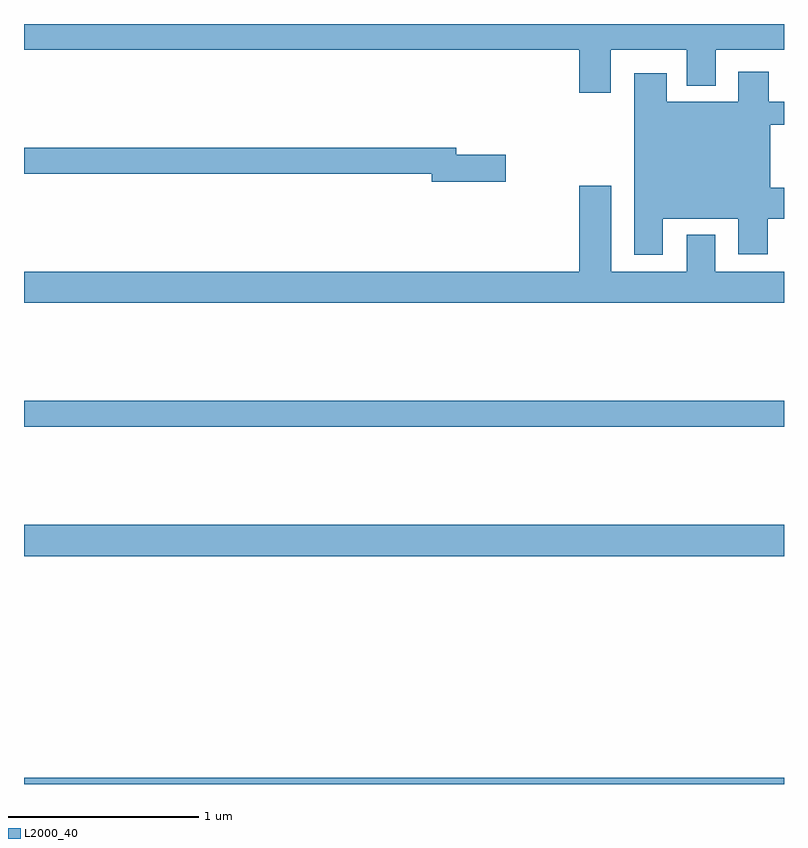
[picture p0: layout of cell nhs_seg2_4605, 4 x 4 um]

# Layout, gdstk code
import gdstk
lib = gdstk.Library(unit=1e-6, precision=1e-09)
def R(c, l, rs):  # rectangles x0, y0, x1, y1
    for r in rs: c.add(gdstk.rectangle(r[:2], r[2:], *l))
def P(c, l, *ps):  # polygons
    for p in ps: c.add(gdstk.Polygon(p, *l))
L2000_40 = (2000, 40)

nhs_seg2_4605 = lib.new_cell('nhs_seg2_4605')
R(nhs_seg2_4605, L2000_40, [(361,615.8,365,615.832), (361,617,365,617.164), (361,617.68,365,617.816)])
P(nhs_seg2_4605, L2000_40, [(364.642,619.664),(365,619.664),(365,619.8),(361,619.8),(361,619.664),(363.923,619.664),(363.923,619.437),(364.087,619.437),(364.087,619.664),(364.487,619.664),(364.487,619.475),(364.642,619.475)],
  [(364.363,618.776),(364.76,618.776),(364.76,618.588),(364.915,618.588),(364.915,618.776),(365,618.776),(365,618.937),(364.927,618.937),(364.927,619.271),(365,619.271),(365,619.39),(364.921,619.39),(364.921,619.549),(364.76,619.549),(364.76,619.39),(364.384,619.39),(364.384,619.54),(364.211,619.54),(364.211,618.585),(364.363,618.585)],
  [(363.535,619.112),(363.274,619.112),(363.274,619.148),(361,619.148),(361,619.012),(363.146,619.012),(363.146,618.97),(363.535,618.97)],
  [(365,618.496),(364.639,618.496),(364.639,618.691),(364.487,618.691),(364.487,618.496),(364.09,618.496),(364.09,618.949),(363.923,618.949),(363.923,618.496),(361,618.496),(361,618.332),(365,618.332)])

lib.write_gds('nhs_seg2_4605.gds')
